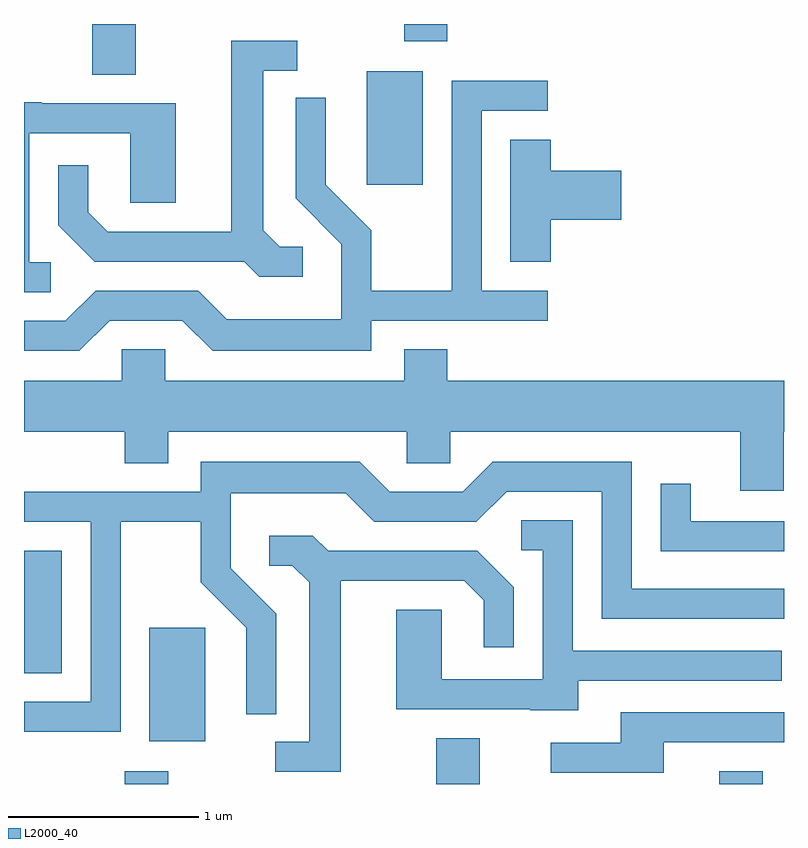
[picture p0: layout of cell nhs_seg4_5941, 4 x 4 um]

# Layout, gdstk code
import gdstk
lib = gdstk.Library(unit=1e-6, precision=1e-09)
def R(c, l, rs):  # rectangles x0, y0, x1, y1
    for r in rs: c.add(gdstk.rectangle(r[:2], r[2:], *l))
def P(c, l, *ps):  # polygons
    for p in ps: c.add(gdstk.Polygon(p, *l))
L2000_40 = (2000, 40)

nhs_seg4_5941 = lib.new_cell('nhs_seg4_5941')
R(nhs_seg4_5941, L2000_40, [(360.141,1303.982,360.369,1304.049), (361.781,1303.982,362.009,1304.224), (363.271,1303.982,363.499,1304.049), (360.271,1304.206,360.564,1304.804), (359.611,1304.566,359.809,1305.209), (361.416,1307.136,361.709,1307.734), (359.971,1307.716,360.199,1307.982), (361.611,1307.891,361.839,1307.982)])
P(nhs_seg4_5941, L2000_40, [(361.078,1306.809),(360.957,1306.809),(360.869,1306.897),(360.869,1307.736),(361.048,1307.736),(361.048,1307.894),(360.701,1307.894),(360.701,1306.889),(360.052,1306.889),(359.949,1306.992),(359.949,1307.238),(359.791,1307.238),(359.791,1306.924),(359.984,1306.731),(360.769,1306.731),(360.849,1306.651),(361.078,1306.651)],
  [(360.062,1306.421),(360.444,1306.421),(360.604,1306.261),(361.439,1306.261),(361.439,1306.421),(362.368,1306.421),(362.368,1306.579),(362.019,1306.579),(362.019,1307.526),(362.368,1307.526),(362.368,1307.684),(361.861,1307.684),(361.861,1306.579),(361.439,1306.579),(361.439,1306.897),(361.199,1307.137),(361.199,1307.593),(361.041,1307.593),(361.041,1307.064),(361.281,1306.824),(361.281,1306.429),(360.677,1306.429),(360.527,1306.579),(359.989,1306.579),(359.829,1306.419),(359.611,1306.419),(359.611,1306.261),(359.902,1306.261)],
  [(359.753,1306.729),(359.639,1306.729),(359.639,1307.406),(360.171,1307.406),(360.171,1307.041),(360.409,1307.041),(360.409,1307.564),(359.705,1307.564),(359.705,1307.569),(359.611,1307.569),(359.611,1306.571),(359.753,1306.571)],
  [(362.384,1306.951),(362.754,1306.951),(362.754,1307.209),(362.384,1307.209),(362.384,1307.374),(362.171,1307.374),(362.171,1306.731),(362.384,1306.731)],
  [(363.609,1305.836),(363.611,1305.836),(363.611,1306.104),(361.839,1306.104),(361.839,1306.269),(361.611,1306.269),(361.611,1306.104),(360.354,1306.104),(360.354,1306.269),(360.126,1306.269),(360.126,1306.104),(359.611,1306.104),(359.611,1305.836),(360.141,1305.836),(360.141,1305.671),(360.369,1305.671),(360.369,1305.836),(361.626,1305.836),(361.626,1305.671),(361.854,1305.671),(361.854,1305.836),(363.381,1305.836),(363.381,1305.526),(363.609,1305.526)],
  [(360.119,1305.361),(360.541,1305.361),(360.541,1305.044),(360.781,1304.804),(360.781,1304.348),(360.939,1304.348),(360.939,1304.877),(360.699,1305.117),(360.699,1305.511),(361.304,1305.511),(361.454,1305.361),(361.992,1305.361),(362.152,1305.521),(362.651,1305.521),(362.651,1304.851),(363.611,1304.851),(363.611,1305.009),(362.809,1305.009),(362.809,1305.679),(362.079,1305.679),(361.919,1305.519),(361.537,1305.519),(361.377,1305.679),(360.541,1305.679),(360.541,1305.519),(359.613,1305.519),(359.613,1305.361),(359.961,1305.361),(359.961,1304.414),(359.613,1304.414),(359.613,1304.256),(360.119,1304.256)],
  [(363.611,1305.364),(363.119,1305.364),(363.119,1305.563),(362.961,1305.563),(362.961,1305.206),(363.611,1305.206)],
  [(362.529,1304.526),(363.598,1304.526),(363.598,1304.684),(362.499,1304.684),(362.499,1305.369),(362.228,1305.369),(362.228,1305.211),(362.341,1305.211),(362.341,1304.534),(361.809,1304.534),(361.809,1304.899),(361.571,1304.899),(361.571,1304.376),(362.275,1304.376),(362.275,1304.371),(362.529,1304.371)],
  [(361.279,1305.051),(361.929,1305.051),(362.031,1304.949),(362.031,1304.703),(362.189,1304.703),(362.189,1305.017),(361.997,1305.209),(361.212,1305.209),(361.132,1305.289),(360.903,1305.289),(360.903,1305.131),(361.024,1305.131),(361.111,1305.044),(361.111,1304.204),(360.933,1304.204),(360.933,1304.046),(361.279,1304.046)],
  [(362.979,1304.201),(363.611,1304.201),(363.611,1304.359),(362.751,1304.359),(362.751,1304.199),(362.383,1304.199),(362.383,1304.041),(362.979,1304.041)])

lib.write_gds('nhs_seg4_5941.gds')
